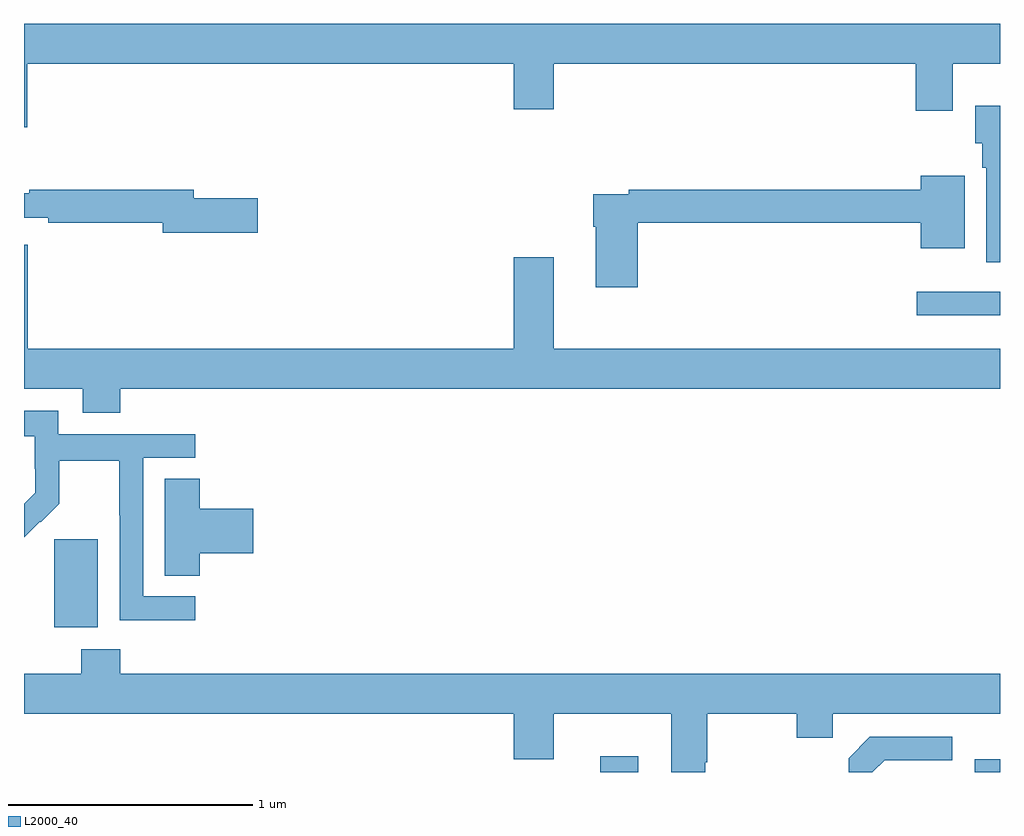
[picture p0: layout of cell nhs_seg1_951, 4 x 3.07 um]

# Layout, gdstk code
import gdstk
lib = gdstk.Library(unit=1e-6, precision=1e-09)
def R(c, l, rs):  # rectangles x0, y0, x1, y1
    for r in rs: c.add(gdstk.rectangle(r[:2], r[2:], *l))
def P(c, l, *ps):  # polygons
    for p in ps: c.add(gdstk.Polygon(p, *l))
L2000_40 = (2000, 40)

nhs_seg1_951 = lib.new_cell('nhs_seg1_951')
R(nhs_seg1_951, L2000_40, [(165.362,510.199,165.517,510.265), (166.896,510.199,167,510.252), (163.124,510.794,163.303,511.155), (166.659,512.072,167,512.169)])
P(nhs_seg1_951, L2000_40, [(163.013,513.104),(165.008,513.104),(165.008,512.916),(165.172,512.916),(165.172,513.104),(166.655,513.104),(166.655,512.91),(166.807,512.91),(166.807,513.104),(167,513.104),(167,513.268),(163,513.268),(163,512.844),(163.013,512.844)],
  [(167,512.932),(166.898,512.932),(166.898,512.778),(166.928,512.778),(166.928,512.678),(166.943,512.678),(166.943,512.289),(167,512.289)],
  [(165.515,512.452),(166.676,512.452),(166.676,512.348),(166.855,512.348),(166.855,512.644),(166.676,512.644),(166.676,512.588),(165.478,512.588),(165.478,512.568),(165.332,512.568),(165.332,512.435),(165.344,512.435),(165.344,512.187),(165.515,512.187)],
  [(163.957,512.552),(163.696,512.552),(163.696,512.588),(163.022,512.588),(163.022,512.573),(163,512.573),(163,512.472),(163.099,512.472),(163.099,512.452),(163.568,512.452),(163.568,512.41),(163.957,512.41)],
  [(163.394,511.772),(167,511.772),(167,511.936),(165.172,511.936),(165.172,512.311),(165.008,512.311),(165.008,511.936),(163.016,511.936),(163.016,512.362),(163,512.362),(163,511.772),(163.241,511.772),(163.241,511.673),(163.394,511.673)],
  [(163.702,510.921),(163.488,510.921),(163.488,511.488),(163.702,511.488),(163.702,511.584),(163.14,511.584),(163.14,511.681),(163,511.681),(163,511.577),(163.044,511.577),(163.044,511.443),(163.046,511.443),(163.046,511.346),(163,511.3),(163,511.162),(163.065,511.227),(163.068,511.224),(163.145,511.301),(163.145,511.476),(163.39,511.476),(163.39,511.252),(163.392,511.252),(163.392,510.823),(163.702,510.823)],
  [(163.721,511.097),(163.939,511.097),(163.939,511.28),(163.721,511.28),(163.721,511.403),(163.577,511.403),(163.577,511.006),(163.721,511.006)],
  [(165.793,510.241),(165.801,510.241),(165.801,510.44),(166.168,510.44),(166.168,510.341),(166.314,510.341),(166.314,510.44),(167,510.44),(167,510.604),(163.394,510.604),(163.394,510.703),(163.234,510.703),(163.234,510.604),(163,510.604),(163,510.44),(165.008,510.44),(165.008,510.252),(165.172,510.252),(165.172,510.44),(165.653,510.44),(165.653,510.199),(165.793,510.199)],
  [(166.527,510.249),(166.804,510.249),(166.804,510.345),(166.467,510.345),(166.38,510.258),(166.38,510.199),(166.477,510.199)])

lib.write_gds('nhs_seg1_951.gds')
